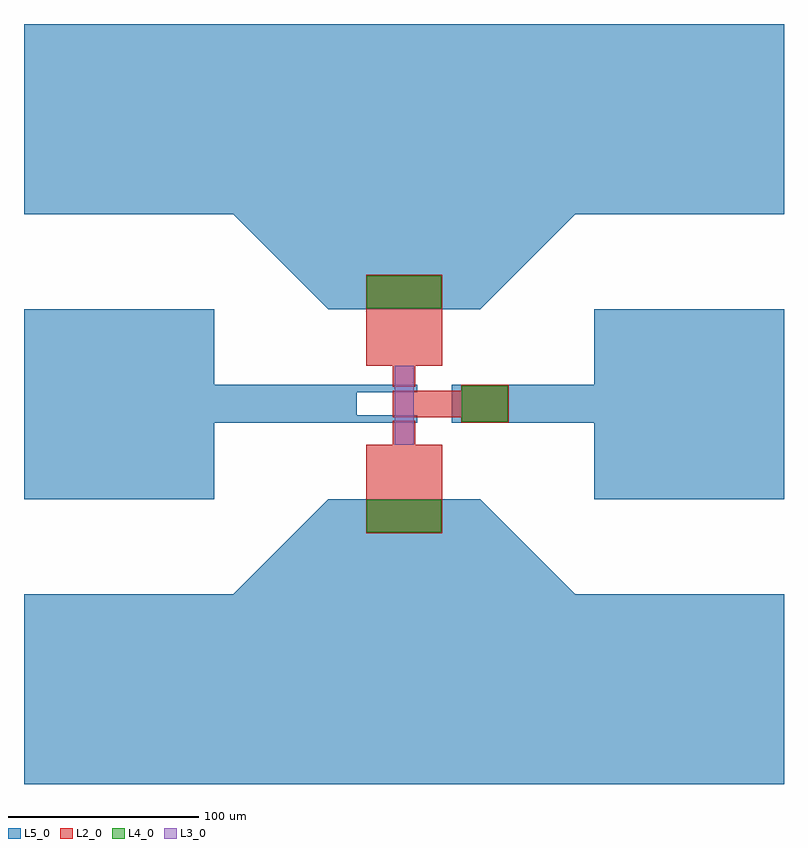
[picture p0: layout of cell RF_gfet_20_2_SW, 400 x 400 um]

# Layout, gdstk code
import gdstk
lib = gdstk.Library(unit=1e-6, precision=5e-10)
def R(c, l, rs):  # rectangles x0, y0, x1, y1
    for r in rs: c.add(gdstk.rectangle(r[:2], r[2:], *l))
def A(c, l, x, y, w, h, nx, ny, dx, dy):  # array of equal rectangles
    R(c, l, [(x+i*dx, y+j*dy, x+i*dx+w, y+j*dy+h) for i in range(nx) for j in range(ny)])
def P(c, l, *ps):  # polygons
    for p in ps: c.add(gdstk.Polygon(p, *l))
L2_0 = (2, 0)
L3_0 = (3, 0)
L4_0 = (4, 0)
L5_0 = (5, 0)

sgs_open = lib.new_cell('SGS_open')
A(sgs_open, L5_0, -440, -150, 100, 100, 1, 3, 0, 150)
A(sgs_open, L5_0, -140, -150, 100, 100, 1, 3, 0, 150)
R(sgs_open, L5_0, [(-360,-150,-125,-50), (-280,-55,-200,0), (-341,40.1,-265,60.1), (-215,40.1,-136,60.1), (-280,100,-200,155), (-360,150,-125,250)])
P(sgs_open, L5_0, [(-200,0),(-150,-50),(-200,-50)],
  [(-280,0),(-330,-50),(-280,-50)],
  [(-200,100),(-150,150),(-200,150)],
  [(-280,100),(-330,150),(-280,150)])

rf_gfet_20_2_sw = lib.new_cell('RF_gfet_20_2_SW')
R(rf_gfet_20_2_sw, L2_0, [(5,-58,45,-11.5), (19,-11.5,31,1), (55,0,80,20), (19,3,75,17), (19,19,31,31.5), (5,30,45,78)])
R(rf_gfet_20_2_sw, L3_0, [(20,-11.5,30,30)])
R(rf_gfet_20_2_sw, L4_0, [(5.5,-57.5,44.5,-40.6), (55.5,0.5,79.5,19.5), (5.5,60.4,44.5,77.5)])
R(rf_gfet_20_2_sw, L5_0, [(0,0,32,4), (0,16,32,20)])
rf_gfet_20_2_sw.add(gdstk.Reference(sgs_open, (265,-40.1)))

lib.write_gds('RF_gfet_20_2_SW.gds')
